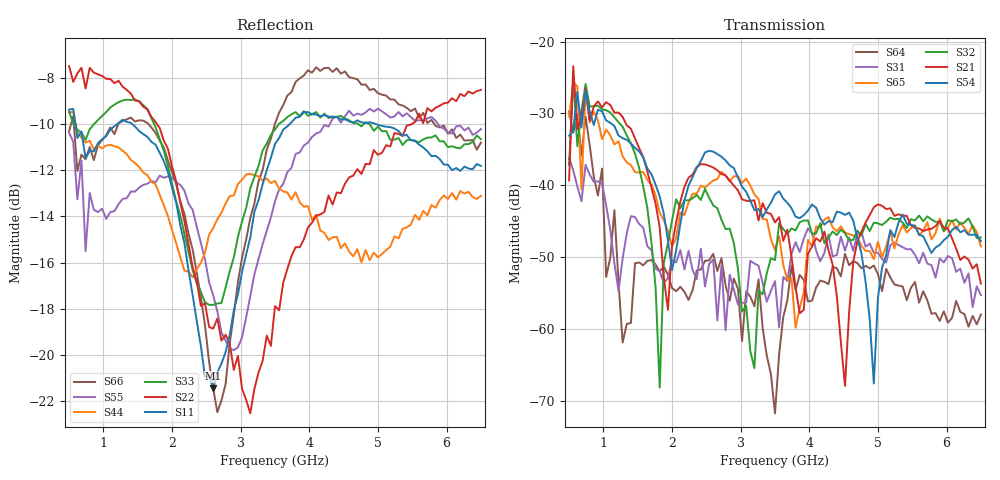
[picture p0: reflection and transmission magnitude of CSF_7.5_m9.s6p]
!Keysight Technologies,M9804A,MY58100912,A.14.10.03
!Date: Thursday, April 27, 2023 10:28:33
!Correction: S11(C  6-Port  )
!S12(C  6-Port  )
!S13(C  6-Port  )
!S14(C  6-Port  )
!S15(C  6-Port  )
!S16(C  6-Port  )
!S21(C  6-Port  )
!S22(C  6-Port  )
!S23(C  6-Port  )
!S24(C  6-Port  )
!S25(C  6-Port  )
!S26(C  6-Port  )
!S31(C  6-Port  )
!S32(C  6-Port  )
!S33(C  6-Port  )
!S34(C  6-Port  )
!S35(C  6-Port  )
!S36(C  6-Port  )
!S41(C  6-Port  )
!S42(C  6-Port  )
!S43(C  6-Port  )
!S44(C  6-Port  )
!S45(C  6-Port  )
!S46(C  6-Port  )
!S51(C  6-Port  )
!S52(C  6-Port  )
!S53(C  6-Port  )
!S54(C  6-Port  )
!S55(C  6-Port  )
!S56(C  6-Port  )
!S61(C  6-Port  )
!S62(C  6-Port  )
!S63(C  6-Port  )
!S64(C  6-Port  )
!S65(C  6-Port  )
!S66(C  6-Port  )
!S6P File: Measurement: :
# Hz S  RI  R 50
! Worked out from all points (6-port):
!   101 points, 500 MHz to 6.5 GHz, reference 50 ohm
!   strongest paths, dB at 500 MHz, 2 GHz, 3.5 GHz, 5 GHz, 6.5 GHz:
!     S54: -33.1, -51.8, -41.3, -55.7, -47.8
!     S21: -39.3, -48.3, -45.2, -42.7, -53.7
!     S32: -37.2, -44.9, -50.4, -45.3, -47.3
!     S65: -30.4, -48.5, -49.1, -47.9, -48.5
!     S31: -36.2, -50.4, -53.4, -49.4, -55.3
!     S64: -29.7, -54.3, -71.8, -52.4, -58.0
!   lowest |S11| = -21.4 dB at 2.6 GHz (marker M1), VSWR 1.18, Z = 42.5 + j2.17 ohm
!   |S11| at or under -10 dB: 591.4 MHz to 1.198 GHz (606.7 MHz wide, 67.8 % of centre); 1.422 GHz to 3.713 GHz (2.291 GHz wide, 89.2 % of centre); 4.973 GHz to end of sweep
